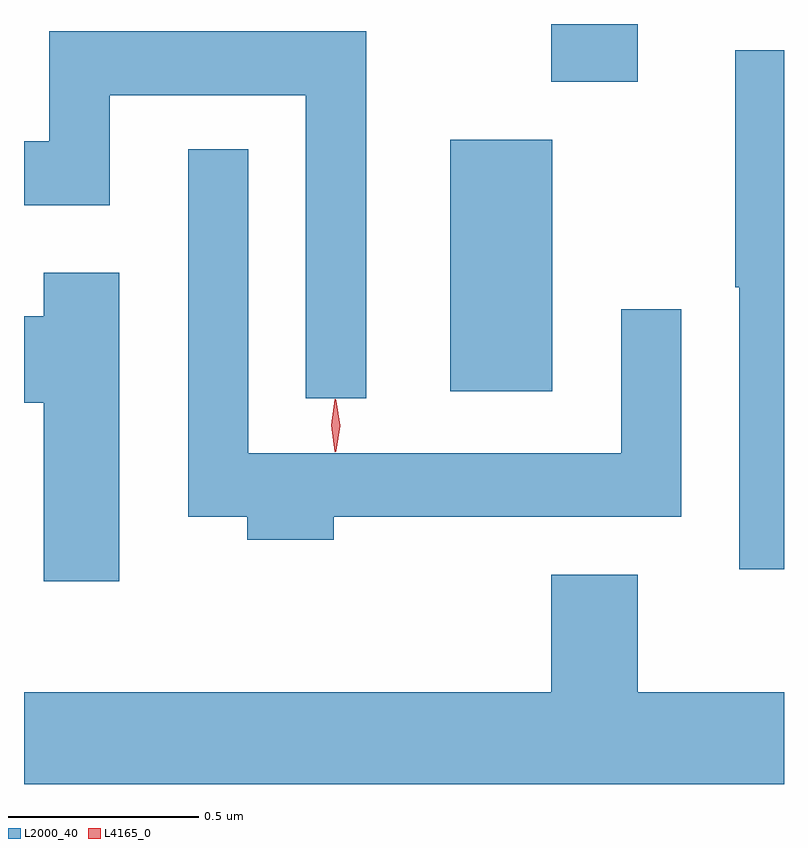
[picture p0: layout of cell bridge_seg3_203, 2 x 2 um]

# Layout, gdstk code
import gdstk
lib = gdstk.Library(unit=1e-6, precision=1e-09)
def R(c, l, rs):  # rectangles x0, y0, x1, y1
    for r in rs: c.add(gdstk.rectangle(r[:2], r[2:], *l))
def P(c, l, *ps):  # polygons
    for p in ps: c.add(gdstk.Polygon(p, *l))
L2000_40 = (2000, 40)
L4165_0 = (4165, 0)

bridge_seg3_203 = lib.new_cell('bridge_seg3_203')
R(bridge_seg3_203, L2000_40, [(897.166,1184.796,897.434,1185.459), (897.431,1185.611,897.659,1185.763)])
P(bridge_seg3_203, L2000_40, [(896.944,1185.744),(896.111,1185.744),(896.111,1185.454),(896.044,1185.454),(896.044,1185.286),(896.269,1185.286),(896.269,1185.576),(896.786,1185.576),(896.786,1184.778),(896.944,1184.778)],
  [(898.044,1185.694),(897.916,1185.694),(897.916,1185.07),(897.926,1185.07),(897.926,1184.328),(898.044,1184.328)],
  [(896.859,1184.466),(897.774,1184.466),(897.774,1185.013),(897.616,1185.013),(897.616,1184.634),(896.634,1184.634),(896.634,1185.433),(896.476,1185.433),(896.476,1184.466),(896.631,1184.466),(896.631,1184.406),(896.859,1184.406)],
  [(896.294,1185.109),(896.096,1185.109),(896.096,1184.994),(896.044,1184.994),(896.044,1184.766),(896.096,1184.766),(896.096,1184.296),(896.294,1184.296)],
  [(898.044,1184.004),(897.659,1184.004),(897.659,1184.314),(897.431,1184.314),(897.431,1184.004),(896.044,1184.004),(896.044,1183.763),(898.044,1183.763)])
P(bridge_seg3_203, L4165_0, [(896.863,1184.637),(896.862,1184.638),(896.853,1184.707),(896.862,1184.776),(896.863,1184.776),(896.864,1184.776),(896.873,1184.707),(896.864,1184.638)],
  [(896.866,1184.639),(896.865,1184.64),(896.856,1184.706),(896.865,1184.772),(896.866,1184.773),(896.866,1184.772),(896.876,1184.706),(896.866,1184.64)])

lib.write_gds('bridge_seg3_203.gds')
